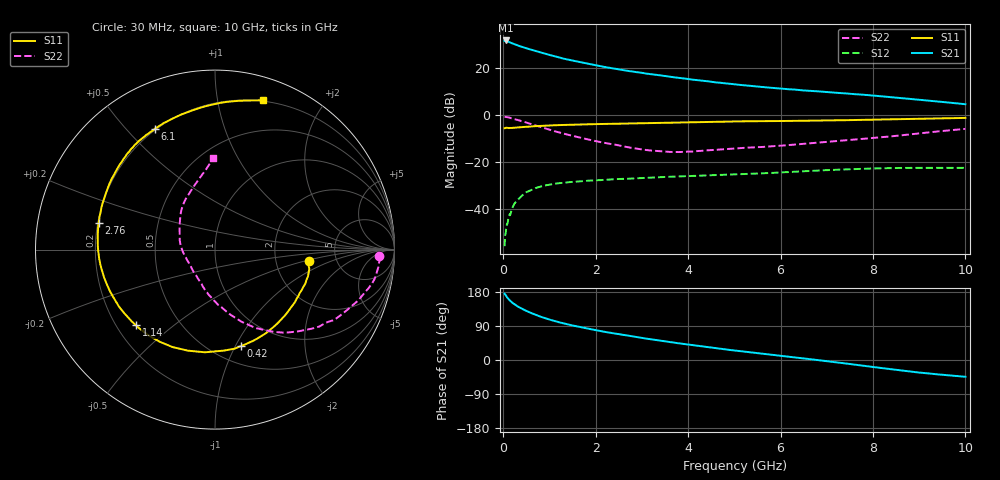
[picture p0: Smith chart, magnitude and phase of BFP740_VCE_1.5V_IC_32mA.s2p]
! Infineon Technologies  Discrete & RF Semiconductors
! BFP740
! VCE =  1.5 V,  IC =  32 mA
! Common Emitter S-Parameters:  Jan 2016
# GHz  S  MA  R  50
!  f  S11  S21  S12  S22
! GHz  MAG  ANG  MAG  ANG  MAG  ANG  MAG  ANG
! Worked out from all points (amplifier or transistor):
!   229 points, 30 MHz to 10 GHz, reference 50 ohm
!   highest |S21| = 31.9 dB at 50 MHz (marker M1)
!   |S21| within 3 dB of that: start of sweep to 448 MHz
!   unconditionally stable (mu >= 1): start of sweep to 30.48 MHz; 4.488 GHz to end of sweep
!   at 280 MHz: K = 0.33, MSG = 33.5 dB, |S12| = -36.9 dB
!   at 1.78 GHz: K = 0.59, MSG = 25.1 dB, |S12| = -28.1 dB
!   at 10 GHz: K = 1.07, MAG = 12.0 dB, |S12| = -22.5 dB
!   S11 on the Smith chart (normalised r, x): 30 MHz: 3.11, -0.56; 420 MHz: 0.67, -1.05; 1.14 GHz: 0.28, -0.37; 2.76 GHz: 0.20, +0.11; 6.1 GHz: 0.19, +0.60; 10 GHz: 0.19, +1.35
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0.03  0.5258 -7.1  38.27 175.0  0.0016 80.2  0.9162 -2.4
0.05  0.536 -11.4  39.26 171.8  0.003 97.3  0.9155 -4.9
0.07  0.5392 -16.1  39.24 167.8  0.004 65.6  0.9124 -7.2
0.11  0.5333 -25.1  37.17 161.3  0.0063 82.8  0.8981 -11.7
0.2  0.5353 -42.6  33.86 150.8  0.0106 72.7  0.8463 -19.6
0.3  0.5454 -58.7  31.21 142.3  0.015 66.2  0.7954 -26.7
0.42  0.5571 -75.2  28.39 134.4  0.0197 60.5  0.7325 -34.6
0.6  0.5749 -95.6  25.02 124.1  0.0251 52.7  0.6464 -44.9
0.8  0.5923 -113.5  21.85 114.6  0.0298 45.5  0.5631 -54.5
1  0.6046 -127.7  19.32 106.7  0.0328 40.0  0.4916 -62.7
1.14  0.6097 -136.2  17.75 101.9  0.0347 37.0  0.4459 -67.5
1.4  0.6222 -149.3  15.33 93.8  0.0369 32.7  0.3822 -75.3
1.7  0.6325 -161.5  13.29 85.9  0.039 28.8  0.3229 -83.6
2.2  0.6494 -178.0  10.64 74.2  0.0419 24.9  0.2565 -97.4
2.76  0.6648 167.3  8.635 62.9  0.0444 21.9  0.2018 -112.9
3.4  0.6832 153.3  7.063 51.0  0.0474 19.1  0.1698 -136.5
4.1  0.7074 140.1  5.718 39.0  0.0502 16.5  0.1674 -163.9
5.1  0.7364 126.2  4.448 23.7  0.0546 13.3  0.1973 169.5
6.1  0.7525 116.3  3.629 9.9  0.0606 10.2  0.2266 150.4
6.8  0.766 108.7  3.226 -0.1  0.0657 6.3  0.2587 138.7
8.4  0.8175 88.1  2.416 -24.4  0.0742 -5.5  0.3533 112.5
10  0.8733 72.3  1.712 -44.3  0.075 -15.7  0.509 91.3
